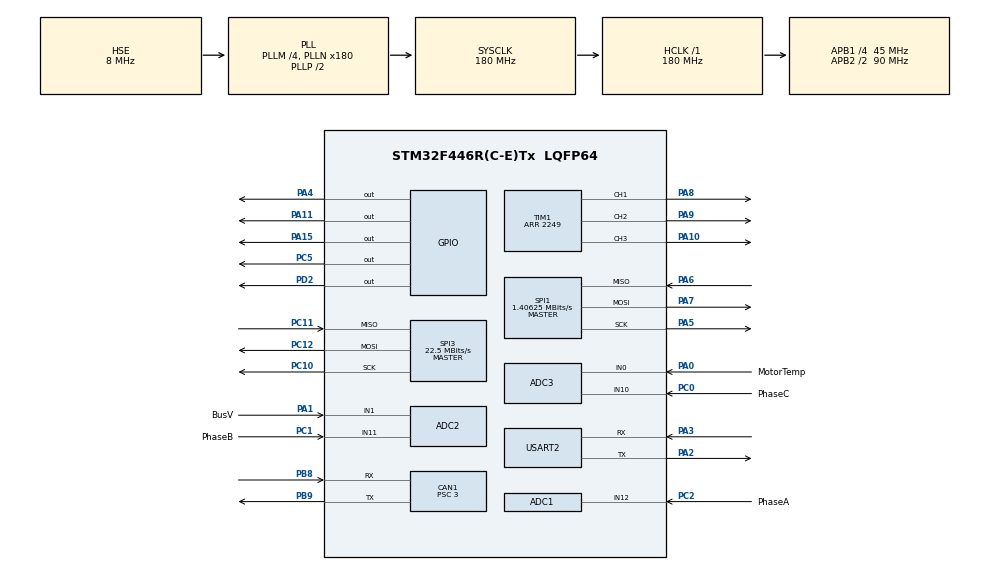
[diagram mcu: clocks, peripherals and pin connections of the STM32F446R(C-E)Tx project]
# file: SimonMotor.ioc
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ADC1.Channel-2\#ChannelRegularConversion=ADC_CHANNEL_12
ADC1.Channel-3\#ChannelInjectedConversion=ADC_CHANNEL_12
ADC1.ExternalTrigInjecConv=ADC_EXTERNALTRIGINJECCONV_T1_CC4
ADC1.ExternalTrigInjecConvEdge=ADC_EXTERNALTRIGINJECCONVEDGE_FALLING
ADC1.InjNumberOfConversion=1
ADC1.InjectedOffset-3\#ChannelInjectedConversion=0
ADC1.InjectedRank-3\#ChannelInjectedConversion=1
ADC1.Mode=ADC_TRIPLEMODE_INJECSIMULT
ADC1.NbrOfConversionFlag=1
ADC1.Rank-2\#ChannelRegularConversion=1
ADC1.SamplingTime-2\#ChannelRegularConversion=ADC_SAMPLETIME_3CYCLES
ADC1.SamplingTime-3\#ChannelInjectedConversion=ADC_SAMPLETIME_3CYCLES
ADC1.master=1
ADC2.Channel-0\#ChannelRegularConversion=ADC_CHANNEL_11
ADC2.Channel-1\#ChannelInjectedConversion=ADC_CHANNEL_11
ADC2.Channel-2\#ChannelInjectedConversion=ADC_CHANNEL_1
ADC2.InjNumberOfConversion=2
ADC2.InjectedOffset-1\#ChannelInjectedConversion=0
ADC2.InjectedOffset-2\#ChannelInjectedConversion=0
ADC2.InjectedRank-1\#ChannelInjectedConversion=1
ADC2.InjectedRank-2\#ChannelInjectedConversion=2
ADC2.Mode=ADC_TRIPLEMODE_INJECSIMULT
ADC2.NbrOfConversionFlag=1
ADC2.Rank-0\#ChannelRegularConversion=1
ADC2.SamplingTime-0\#ChannelRegularConversion=ADC_SAMPLETIME_3CYCLES
ADC2.SamplingTime-1\#ChannelInjectedConversion=ADC_SAMPLETIME_3CYCLES
ADC2.SamplingTime-2\#ChannelInjectedConversion=ADC_SAMPLETIME_3CYCLES
ADC3.Channel-0\#ChannelRegularConversion=ADC_CHANNEL_0
ADC3.Channel-1\#ChannelInjectedConversion=ADC_CHANNEL_10
ADC3.Channel-2\#ChannelInjectedConversion=ADC_CHANNEL_0
ADC3.InjNumberOfConversion=2
ADC3.InjectedOffset-1\#ChannelInjectedConversion=0
ADC3.InjectedOffset-2\#ChannelInjectedConversion=0
ADC3.InjectedRank-1\#ChannelInjectedConversion=1
ADC3.InjectedRank-2\#ChannelInjectedConversion=2
ADC3.NbrOfConversionFlag=1
ADC3.Rank-0\#ChannelRegularConversion=1
ADC3.SamplingTime-0\#ChannelRegularConversion=ADC_SAMPLETIME_3CYCLES
ADC3.SamplingTime-1\#ChannelInjectedConversion=ADC_SAMPLETIME_15CYCLES
ADC3.SamplingTime-2\#ChannelInjectedConversion=ADC_SAMPLETIME_3CYCLES
CAN1.BS1=CAN_BS1_12TQ
CAN1.BS2=CAN_BS2_2TQ
CAN1.CalculateBaudRate=1000000
CAN1.CalculateTimeBit=1000
CAN1.CalculateTimeQuantum=66.66666666666666
CAN1.Prescaler=3
Dma.Request0=SPI3_RX
Dma.Request1=SPI3_TX
Dma.SPI3_RX.0.Direction=DMA_PERIPH_TO_MEMORY
Dma.SPI3_RX.0.FIFOMode=DMA_FIFOMODE_DISABLE
Dma.SPI3_RX.0.Instance=DMA1_Stream0
Dma.SPI3_RX.0.MemDataAlignment=DMA_MDATAALIGN_HALFWORD
Dma.SPI3_RX.0.MemInc=DMA_MINC_ENABLE
Dma.SPI3_RX.0.Mode=DMA_NORMAL
Dma.SPI3_RX.0.PeriphDataAlignment=DMA_PDATAALIGN_HALFWORD
Dma.SPI3_RX.0.PeriphInc=DMA_PINC_DISABLE
Dma.SPI3_RX.0.Priority=DMA_PRIORITY_HIGH
Dma.SPI3_TX.1.Direction=DMA_MEMORY_TO_PERIPH
Dma.SPI3_TX.1.FIFOMode=DMA_FIFOMODE_DISABLE
Dma.SPI3_TX.1.Instance=DMA1_Stream5
Dma.SPI3_TX.1.MemDataAlignment=DMA_MDATAALIGN_HALFWORD
Dma.SPI3_TX.1.MemInc=DMA_MINC_ENABLE
Dma.SPI3_TX.1.Mode=DMA_NORMAL
Dma.SPI3_TX.1.PeriphDataAlignment=DMA_PDATAALIGN_HALFWORD
Dma.SPI3_TX.1.PeriphInc=DMA_PINC_DISABLE
Dma.SPI3_TX.1.Priority=DMA_PRIORITY_LOW
FREERTOS.Tasks01=motorMgrTask,24,512,startMotorMgrTask,Default,NULL,Dynamic,NULL,NULL;flashWritingTas,8,128,startFlashWritingTask,Default,NULL,Dynamic,NULL,NULL
Mcu.Family=STM32F4
Mcu.Name=STM32F446R(C-E)Tx
Mcu.Package=LQFP64
NVIC.ADC_IRQn=true\:5\:0\:false\:false\:true\:true\:true\:true\:true
NVIC.CAN1_RX0_IRQn=true\:10\:0\:true\:false\:true\:true\:true\:true\:true
NVIC.DMA1_Stream0_IRQn=true\:5\:0\:false\:false\:true\:true\:false\:true\:true
NVIC.DMA1_Stream5_IRQn=true\:5\:0\:false\:false\:true\:true\:false\:true\:true
NVIC.PriorityGroup=NVIC_PRIORITYGROUP_4
NVIC.TIM6_DAC_IRQn=true\:15\:0\:false\:false\:true\:false\:false\:true\:true
NVIC.TimeBase=TIM6_DAC_IRQn
NVIC.TimeBaseIP=TIM6
PA0-WKUP.GPIO_Label=MotorTemp
PA0-WKUP.Signal=ADCx_IN0
PA1.GPIO_Label=BusV
PA1.Signal=ADCx_IN1
PA10.GPIO_Speed=GPIO_SPEED_FREQ_VERY_HIGH
PA10.Signal=S_TIM1_CH3
PA11.GPIO_Speed=GPIO_SPEED_FREQ_VERY_HIGH
PA11.Signal=GPIO_Output
PA13.Mode=Serial_Wire
PA13.Signal=SYS_JTMS-SWDIO
PA14.Mode=Serial_Wire
PA14.Signal=SYS_JTCK-SWCLK
PA15.GPIO_Speed=GPIO_SPEED_FREQ_VERY_HIGH
PA15.Signal=GPIO_Output
PA2.Mode=Asynchronous
PA2.Signal=USART2_TX
PA3.Mode=Asynchronous
PA3.Signal=USART2_RX
PA4.GPIO_Speed=GPIO_SPEED_FREQ_VERY_HIGH
PA4.Signal=GPIO_Output
PA5.Mode=Full_Duplex_Master
PA5.Signal=SPI1_SCK
PA6.Mode=Full_Duplex_Master
PA6.Signal=SPI1_MISO
PA7.Mode=Full_Duplex_Master
PA7.Signal=SPI1_MOSI
PA8.GPIO_Speed=GPIO_SPEED_FREQ_VERY_HIGH
PA8.Signal=S_TIM1_CH1
PA9.GPIO_Speed=GPIO_SPEED_FREQ_VERY_HIGH
PA9.Signal=S_TIM1_CH2
PB8.Mode=CAN_Activate
PB8.Signal=CAN1_RX
PB9.Mode=CAN_Activate
PB9.Signal=CAN1_TX
PC0.GPIO_Label=PhaseC
PC0.Signal=ADCx_IN10
PC1.GPIO_Label=PhaseB
PC1.Signal=ADCx_IN11
PC10.Mode=Full_Duplex_Master
PC10.Signal=SPI3_SCK
PC11.Mode=Full_Duplex_Master
PC11.Signal=SPI3_MISO
PC12.Mode=Full_Duplex_Master
PC12.Signal=SPI3_MOSI
PC2.GPIO_Label=PhaseA
PC2.Signal=ADCx_IN12
PC5.GPIO_Speed=GPIO_SPEED_FREQ_VERY_HIGH
PC5.Signal=GPIO_Output
PD2.GPIO_Speed=GPIO_SPEED_FREQ_VERY_HIGH
PD2.Signal=GPIO_Output
PH0-OSC_IN.Mode=HSE-External-Oscillator
PH0-OSC_IN.Signal=RCC_OSC_IN
PH1-OSC_OUT.Mode=HSE-External-Oscillator
PH1-OSC_OUT.Signal=RCC_OSC_OUT
ProjectManager.HeapSize=0x200
ProjectManager.StackSize=0x400
ProjectManager.TargetToolchain=CMake
RCC.AHBFreq_Value=180000000
RCC.APB1CLKDivider=RCC_HCLK_DIV4
RCC.APB1Freq_Value=45000000
RCC.APB1TimFreq_Value=90000000
RCC.APB2CLKDivider=RCC_HCLK_DIV2
RCC.APB2Freq_Value=90000000
RCC.APB2TimFreq_Value=180000000
RCC.CortexFreq_Value=180000000
RCC.HCLKFreq_Value=180000000
RCC.HSE_VALUE=8000000
RCC.PLLM=4
RCC.PLLN=180
RCC.PLLSourceVirtual=RCC_PLLSOURCE_HSE
RCC.SYSCLKFreq_VALUE=180000000
RCC.SYSCLKSource=RCC_SYSCLKSOURCE_PLLCLK
RCC.USBFreq_Value=180000000
RCC.VCOOutputFreq_Value=360000000
SH.ADCx_IN0.0=ADC3_IN0,IN0
SH.ADCx_IN1.0=ADC2_IN1,IN1
SH.ADCx_IN10.0=ADC3_IN10,IN10
SH.ADCx_IN11.0=ADC2_IN11,IN11
SH.ADCx_IN12.0=ADC1_IN12,IN12
SH.S_TIM1_CH1.0=TIM1_CH1,PWM Generation1 CH1
SH.S_TIM1_CH2.0=TIM1_CH2,PWM Generation2 CH2
SH.S_TIM1_CH3.0=TIM1_CH3,PWM Generation3 CH3
SPI1.BaudRatePrescaler=SPI_BAUDRATEPRESCALER_64
SPI1.CLKPhase=SPI_PHASE_2EDGE
SPI1.CalculateBaudRate=1.40625 MBits/s
SPI1.DataSize=SPI_DATASIZE_16BIT
SPI1.Direction=SPI_DIRECTION_2LINES
SPI1.Mode=SPI_MODE_MASTER
SPI1.VirtualType=VM_MASTER
SPI3.BaudRatePrescaler=SPI_BAUDRATEPRESCALER_2
SPI3.CalculateBaudRate=22.5 MBits/s
SPI3.DataSize=SPI_DATASIZE_16BIT
SPI3.Direction=SPI_DIRECTION_2LINES
SPI3.Mode=SPI_MODE_MASTER
SPI3.VirtualType=VM_MASTER
TIM1.AutoReloadPreload=TIM_AUTORELOAD_PRELOAD_ENABLE
TIM1.Channel-PWM\ Generation1\ CH1=TIM_CHANNEL_1
TIM1.Channel-PWM\ Generation2\ CH2=TIM_CHANNEL_2
TIM1.Channel-PWM\ Generation3\ CH3=TIM_CHANNEL_3
TIM1.Channel-PWM\ Generation4\ No\ Output=TIM_CHANNEL_4
TIM1.CounterMode=TIM_COUNTERMODE_CENTERALIGNED1
TIM1.OCFastMode_PWM-PWM\ Generation1\ CH1=TIM_OCFAST_ENABLE
TIM1.OCFastMode_PWM-PWM\ Generation2\ CH2=TIM_OCFAST_ENABLE
TIM1.OCFastMode_PWM-PWM\ Generation3\ CH3=TIM_OCFAST_ENABLE
TIM1.OCFastMode_PWM-PWM\ Generation4\ No\ Output=TIM_OCFAST_ENABLE
TIM1.Period=2249
TIM1.TIM_MasterOutputTrigger=TIM_TRGO_RESET
USART2.VirtualMode=VM_ASYNC
VP_FREERTOS_VS_CMSIS_V2.Mode=CMSIS_V2
VP_SYS_VS_tim6.Mode=TIM6
VP_TIM1_VS_ClockSourceINT.Mode=Internal
VP_TIM1_VS_no_output4.Mode=PWM Generation4 No Output
board=custom

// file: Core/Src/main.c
/* USER CODE BEGIN Header */
/**
  ******************************************************************************
  * @file           : main.c
  * @brief          : Main program body
  ******************************************************************************
  * @attention
  *
  * Copyright (c) 2026 STMicroelectronics.
  * All rights reserved.
  *
  * This software is licensed under terms that can be found in the LICENSE file
  * in the root directory of this software component.
  * If no LICENSE file comes with this software, it is provided AS-IS.
  *
  ******************************************************************************
  */
/* USER CODE END Header */
#include "main.h"
#include "cmsis_os.h"
#include "adc.h"
#include "can.h"
#include "dma.h"
#include "spi.h"
#include "tim.h"
#include "usart.h"
#include "gpio.h"

/* USER CODE BEGIN Includes */
#include "hw_config.h"
#include "user_config.h"
#include "math_ops.h"
#include "stm32f4xx_flash.h"
#include "flash_writer.h"
#include "preference_writer.h"
#include "drv8353.h"
#include <stdio.h>
#include <string.h>
#include "foc.h"
#include "angle_sensor.h"
#include "foc_calibration.h"
#include "pid_utils.h"
#include "fsm.h"
/* USER CODE END Includes */

/* USER CODE BEGIN PV */
float __float_reg[64];
int __int_reg[256];
PreferenceWriter prefs;
DRVStruct drv;
foc_t hfoc;
CalStruct hcal;
CANTxMessage can_tx;
CANRxMessage can_rx;
FSMStruct hfsm;

/* FOC loop timing instrumentation (DWT cycle counter) */
volatile uint32_t foc_loop_cycles_min = 0xFFFFFFFFu;
volatile uint32_t foc_loop_cycles_max = 0;
volatile uint32_t foc_loop_cycles_sum = 0;
volatile uint32_t foc_loop_cycles_count = 0;

/* angle_sensor_update timing instrumentation (DWT cycle counter) */
volatile uint32_t angle_sensor_cycles_min = 0xFFFFFFFFu;
volatile uint32_t angle_sensor_cycles_max = 0;
volatile uint32_t angle_sensor_cycles_sum = 0;
volatile uint32_t angle_sensor_cycles_count = 0;
/* USER CODE END PV */

void SystemClock_Config(void);
void MX_FREERTOS_Init(void);

int main(void)
{

  /* MCU Configuration--------------------------------------------------------*/

  /* Reset of all peripherals, Initializes the Flash interface and the Systick. */
  HAL_Init();

  /* USER CODE BEGIN Init */
  preference_writer_init(&prefs, 6);
  preference_writer_load(prefs);
  if(E_ZERO==-1){E_ZERO = 0;}
  if(M_ZERO==-1){M_ZERO = 0;}
  if(isnan(I_BW) || I_BW==-1){I_BW = 1000;}
  if(isnan(I_MAX) || I_MAX ==-1){I_MAX=40;}
  I_MAX = 60.0f;
  if(isnan(I_FW_MAX) || I_FW_MAX ==-1){I_FW_MAX=0;}
  if(CAN_ID==-1){CAN_ID = 1;}
  if(CAN_MASTER==-1){CAN_MASTER = 0;}
  if(CAN_TIMEOUT==-1){CAN_TIMEOUT = 10000;}
  if(isnan(R_NOMINAL) || R_NOMINAL==-1){R_NOMINAL = 0.0f;}
  // if(isnan(TEMP_MAX) || TEMP_MAX==-1){TEMP_MAX = 125.0f;}
  if(isnan(I_MAX_CONT) || I_MAX_CONT==-1){I_MAX_CONT = 14.0f;}
  if(isnan(I_CAL)||I_CAL==-1){I_CAL = 2.0f;}
  I_CAL=10.0f;
  if(isnan(PPAIRS) || PPAIRS==-1){PPAIRS = 21.0f;}
  if(isnan(GR) || GR==-1){GR = 1.0f;}
  GR = 18.0f;
  if(isnan(KT) || KT==-1){KT = 1.0f;}
  float KT_AFTER_REDUCER = 2.97f;
  KT = KT_AFTER_REDUCER/GR;
  if(isnan(KP_MAX) || KP_MAX==-1){KP_MAX = 500.0f;}
  if(isnan(KD_MAX) || KD_MAX==-1){KD_MAX = 5.0f;}
  if(isnan(P_MAX)){P_MAX = 12.57f;}
  if(isnan(P_MIN)){P_MIN = -12.57f;}
  if(isnan(V_MAX)){V_MAX = 65.0f;}
  if(isnan(V_MIN)){V_MIN = -65.0f;}

  /* USER CODE END Init */

  /* Configure the system clock */
  SystemClock_Config();

  /* USER CODE BEGIN SysInit */
  /* Enable DWT cycle counter for FOC-loop timing instrumentation */
  CoreDebug->DEMCR |= CoreDebug_DEMCR_TRCENA_Msk;
  DWT->CYCCNT = 0;
  DWT->CTRL  |= DWT_CTRL_CYCCNTENA_Msk;

  /* USER CODE END SysInit */

  /* Initialize all configured peripherals */
  MX_GPIO_Init();
  MX_DMA_Init();
  MX_ADC1_Init();
  MX_ADC2_Init();
  MX_ADC3_Init();
  MX_CAN1_Init();
  MX_SPI1_Init();
  MX_SPI3_Init();
  MX_TIM1_Init();
  MX_USART2_UART_Init();
  /* USER CODE BEGIN 2 */

  /* CAN setup */
  can_rx_init(&can_rx);
  can_tx_init(&can_tx);
  HAL_CAN_Start(&CAN_H); //  Start CAN peripheral
  HAL_CAN_ActivateNotification(&hcan1, CAN_IT_RX_FIFO0_MSG_PENDING);

  /* DRV8353 setup */
  drv_init(drv, I_MAX);

  /* FOC sensor init — must come before MA732 start so the LUT is active
     from the very first SPI callback */
  foc_sensor_init(&hfoc,
      (CALIBRATION_DONE_FLAG == 1) ? E_ZERO_RAD        : 0.0f,
      (CALIBRATION_DONE_FLAG == 1 && PHASE_ORDER == 1) ? REVERSE_DIR : NORMAL_DIR);
  if (CALIBRATION_DONE_FLAG == 1) {
    hfoc.angle_sensor.m_zero     = isnan(M_ZERO_RAD) ? 0.0f : M_ZERO_RAD;
    hfoc.angle_sensor.pole_pairs = (uint8_t)PPAIRS;
    memcpy(hfoc.angle_sensor.encd_error_comp, &ENCODER_LUT,
           sizeof(hfoc.angle_sensor.encd_error_comp));
    hfoc.angle_sensor.lut_ready = 1;
    printf("Encoder cal loaded: e_zero=%.4f, ppairs=%d, dir=%s\r\n",
           hfoc.angle_sensor.e_zero, hfoc.angle_sensor.pole_pairs,
           (hfoc.angle_sensor.sensor_dir == REVERSE_DIR) ? "rev" : "norm");
  }

    // if using external encoder, set cs pin high for the internal one to disable it and avoid interference
  if(USE_EXTERNAL_ENCODER){
    HAL_GPIO_WritePin(ENC_CS_INT, GPIO_PIN_SET);
  }
  /* MA732 setup */
  MA732_config(&hfoc.angle_sensor.ma732, &ENC_SPI);
  for (int i=0; i<20; i++) {
    MA732_start(&hfoc.angle_sensor.ma732);
    HAL_Delay(10);
  }

  /* Turn on PWM */
  HAL_TIM_PWM_Start(&htim1, TIM_CHANNEL_1);
  HAL_TIM_PWM_Start(&htim1, TIM_CHANNEL_2);
  HAL_TIM_PWM_Start(&htim1, TIM_CHANNEL_3);
  HAL_TIM_PWM_Start(&htim1, TIM_CHANNEL_4);

  // shift ADC trigger to occur slightly before the PWM edge to allow for sampling during the deadtime
  htim1.Instance->CCR4 = htim1.Instance->ARR - ADC_TRIG_OFFSET;

  foc_timer_init(&hfoc, &htim1);
  foc_set_limit_current(&hfoc, I_MAX);
  init_trig_lut();

  pid_reset(&hfoc.id_ctrl);
  pid_set_ts(&hfoc.id_ctrl, FOC_TS);
  pid_set_kp(&hfoc.id_ctrl, 0.05f);
  pid_set_ki(&hfoc.id_ctrl, 200.0f);
  pid_set_max_out_dynamic(&hfoc.id_ctrl, 0.8f);
  pid_set_deadband(&hfoc.id_ctrl, 0.0001f);

  pid_reset(&hfoc.iq_ctrl);
  pid_set_ts(&hfoc.iq_ctrl, FOC_TS);
  pid_set_kp(&hfoc.iq_ctrl, 0.05f);
  pid_set_ki(&hfoc.iq_ctrl, 200.0f);
  pid_set_max_out_dynamic(&hfoc.iq_ctrl, 0.8f);
  pid_set_deadband(&hfoc.iq_ctrl, 0.0001f);

  // Speed PID parameter
  pid_reset(&hfoc.speed_ctrl);
  pid_set_ts(&hfoc.speed_ctrl, SPEED_TS);
  pid_set_kp(&hfoc.speed_ctrl, 0.01f);
  pid_set_ki(&hfoc.speed_ctrl, 0.1f);
  pid_set_kd(&hfoc.speed_ctrl, 0.0001f);
  pid_set_d_filter_fc(&hfoc.speed_ctrl, 100.0f);
  pid_set_max_d(&hfoc.speed_ctrl, 10.0f);
  pid_set_max_out(&hfoc.speed_ctrl, 10.0f);
  pid_set_deadband(&hfoc.speed_ctrl, 0.01f);

  	// current sensor
  hfsm.curr_state = MENU_MODE;
  hfsm.next_state = MENU_MODE;
  CurrentSensor_init(&hfoc.current_sensor, &(ADC1->JDR1), &(ADC2->JDR1), &(ADC3->JDR1), I_SCALE, 2048, 2048, 2048);
	HAL_ADCEx_InjectedStart_IT(&hadc1);
	HAL_ADCEx_InjectedStart_IT(&hadc2);
	HAL_ADCEx_InjectedStart_IT(&hadc3);
  HAL_Delay(50);

  drv_enable_gd(drv);
  htim1.Instance->CCR1 = 0u;
  htim1.Instance->CCR2 = 0u;
  htim1.Instance->CCR3 = 0u;
  CurrentSensor_calibrate(&hfoc.current_sensor, 1000U);
  printf("ADC offsets: A=%d, B=%d, C=%d\r\n",
         hfoc.current_sensor.adc_a_offset, hfoc.current_sensor.adc_b_offset, hfoc.current_sensor.adc_c_offset);

  /* USER CODE END 2 */

  /* Init scheduler */
  osKernelInitialize();  /* Call init function for freertos objects (in cmsis_os2.c) */
  MX_FREERTOS_Init();

  /* Start scheduler */
  osKernelStart();

  /* We should never get here as control is now taken by the scheduler */

  /* Infinite loop */
  while (1)
  {

  }
}

void SystemClock_Config(void)
{
  RCC_OscInitTypeDef RCC_OscInitStruct = {0};
  RCC_ClkInitTypeDef RCC_ClkInitStruct = {0};

  /** Configure the main internal regulator output voltage
  */
  __HAL_RCC_PWR_CLK_ENABLE();
  __HAL_PWR_VOLTAGESCALING_CONFIG(PWR_REGULATOR_VOLTAGE_SCALE1);

  /** Initializes the RCC Oscillators according to the specified parameters
  * in the RCC_OscInitTypeDef structure.
  */
  RCC_OscInitStruct.OscillatorType = RCC_OSCILLATORTYPE_HSE;
  RCC_OscInitStruct.HSEState = RCC_HSE_ON;
  RCC_OscInitStruct.PLL.PLLState = RCC_PLL_ON;
  RCC_OscInitStruct.PLL.PLLSource = RCC_PLLSOURCE_HSE;
  RCC_OscInitStruct.PLL.PLLM = 4;
  RCC_OscInitStruct.PLL.PLLN = 180;
  RCC_OscInitStruct.PLL.PLLP = RCC_PLLP_DIV2;
  RCC_OscInitStruct.PLL.PLLQ = 2;
  RCC_OscInitStruct.PLL.PLLR = 2;
  if (HAL_RCC_OscConfig(&RCC_OscInitStruct) != HAL_OK)
  {
    Error_Handler();
  }

  /** Activate the Over-Drive mode
  */
  if (HAL_PWREx_EnableOverDrive() != HAL_OK)
  {
    Error_Handler();
  }

  /** Initializes the CPU, AHB and APB buses clocks
  */
  RCC_ClkInitStruct.ClockType = RCC_CLOCKTYPE_HCLK|RCC_CLOCKTYPE_SYSCLK
                              |RCC_CLOCKTYPE_PCLK1|RCC_CLOCKTYPE_PCLK2;
  RCC_ClkInitStruct.SYSCLKSource = RCC_SYSCLKSOURCE_PLLCLK;
  RCC_ClkInitStruct.AHBCLKDivider = RCC_SYSCLK_DIV1;
  RCC_ClkInitStruct.APB1CLKDivider = RCC_HCLK_DIV4;
  RCC_ClkInitStruct.APB2CLKDivider = RCC_HCLK_DIV2;

  if (HAL_RCC_ClockConfig(&RCC_ClkInitStruct, FLASH_LATENCY_5) != HAL_OK)
  {
    Error_Handler();
  }
}

/* USER CODE BEGIN 4 */
// CAN RX is now handled entirely in CAN1_RX0_IRQHandler (stm32f4xx_it.c).
// Protocol: CAN_ID, 8 bytes.
//   0xFF 0xFF 0xFF 0xFF 0xFF 0xFF 0xFF 0xFC  → enter torque control (MOTOR_CMD)
//   0xFF 0xFF 0xFF 0xFF 0xFF 0xFF 0xFF 0xFD  → return to menu      (MENU_CMD)
//   0xFF 0xFF 0xFF 0xFF 0xFF 0xFF 0xFF 0xFE  → set mechanical zero  (ZERO_CMD)
//   otherwise                                → MIT pos/vel/kp/kd command
// Reply: 6 bytes, position/velocity/current packed as int16.

void HAL_SPI_TxRxCpltCallback(SPI_HandleTypeDef *hspi)
{
  if (hspi->Instance == ENC_SPI.Instance)
  {
    // uint32_t cyc_start = DWT->CYCCNT;
    angle_sensor_update(&hfoc.angle_sensor);
    // uint32_t cycles = DWT->CYCCNT - cyc_start;
    // if (cycles < angle_sensor_cycles_min) angle_sensor_cycles_min = cycles;
    // if (cycles > angle_sensor_cycles_max) angle_sensor_cycles_max = cycles;
    // angle_sensor_cycles_sum += cycles;
    // angle_sensor_cycles_count++;
  }
}

void HAL_SPI_ErrorCallback(SPI_HandleTypeDef *hspi)
{
  if (hspi->Instance == ENC_SPI.Instance)
  {
    HAL_GPIO_WritePin(ENC_CS, GPIO_PIN_SET);
  }
}
void HAL_ADCEx_InjectedConvCpltCallback(ADC_HandleTypeDef* hadc) {
	if (hadc->Instance == ADC1) {
  }
	if (hadc->Instance == ADC2) {
  }
	if (hadc->Instance == ADC3) {
    // Don't trigger anything on the callbacks for ADC1 and ADC2.
    // We want to wait to do any work until we're sure we have info from
    // all three ADCs.
    CurrentSensor_sample_offset(&hfoc.current_sensor);

    uint32_t cyc_start = DWT->CYCCNT;
    run_fsm(&hfsm);
    uint32_t cycles = DWT->CYCCNT - cyc_start;

    if (cycles < foc_loop_cycles_min) foc_loop_cycles_min = cycles;
    if (cycles > foc_loop_cycles_max) foc_loop_cycles_max = cycles;
    foc_loop_cycles_sum += cycles;
    foc_loop_cycles_count++;
	}

}
/* USER CODE END 4 */

void HAL_TIM_PeriodElapsedCallback(TIM_HandleTypeDef *htim)
{
  if (htim->Instance == TIM6)
  {
    HAL_IncTick();
  }
}

void Error_Handler(void)
{
  __disable_irq();
  while (1)
  {
  }
}
